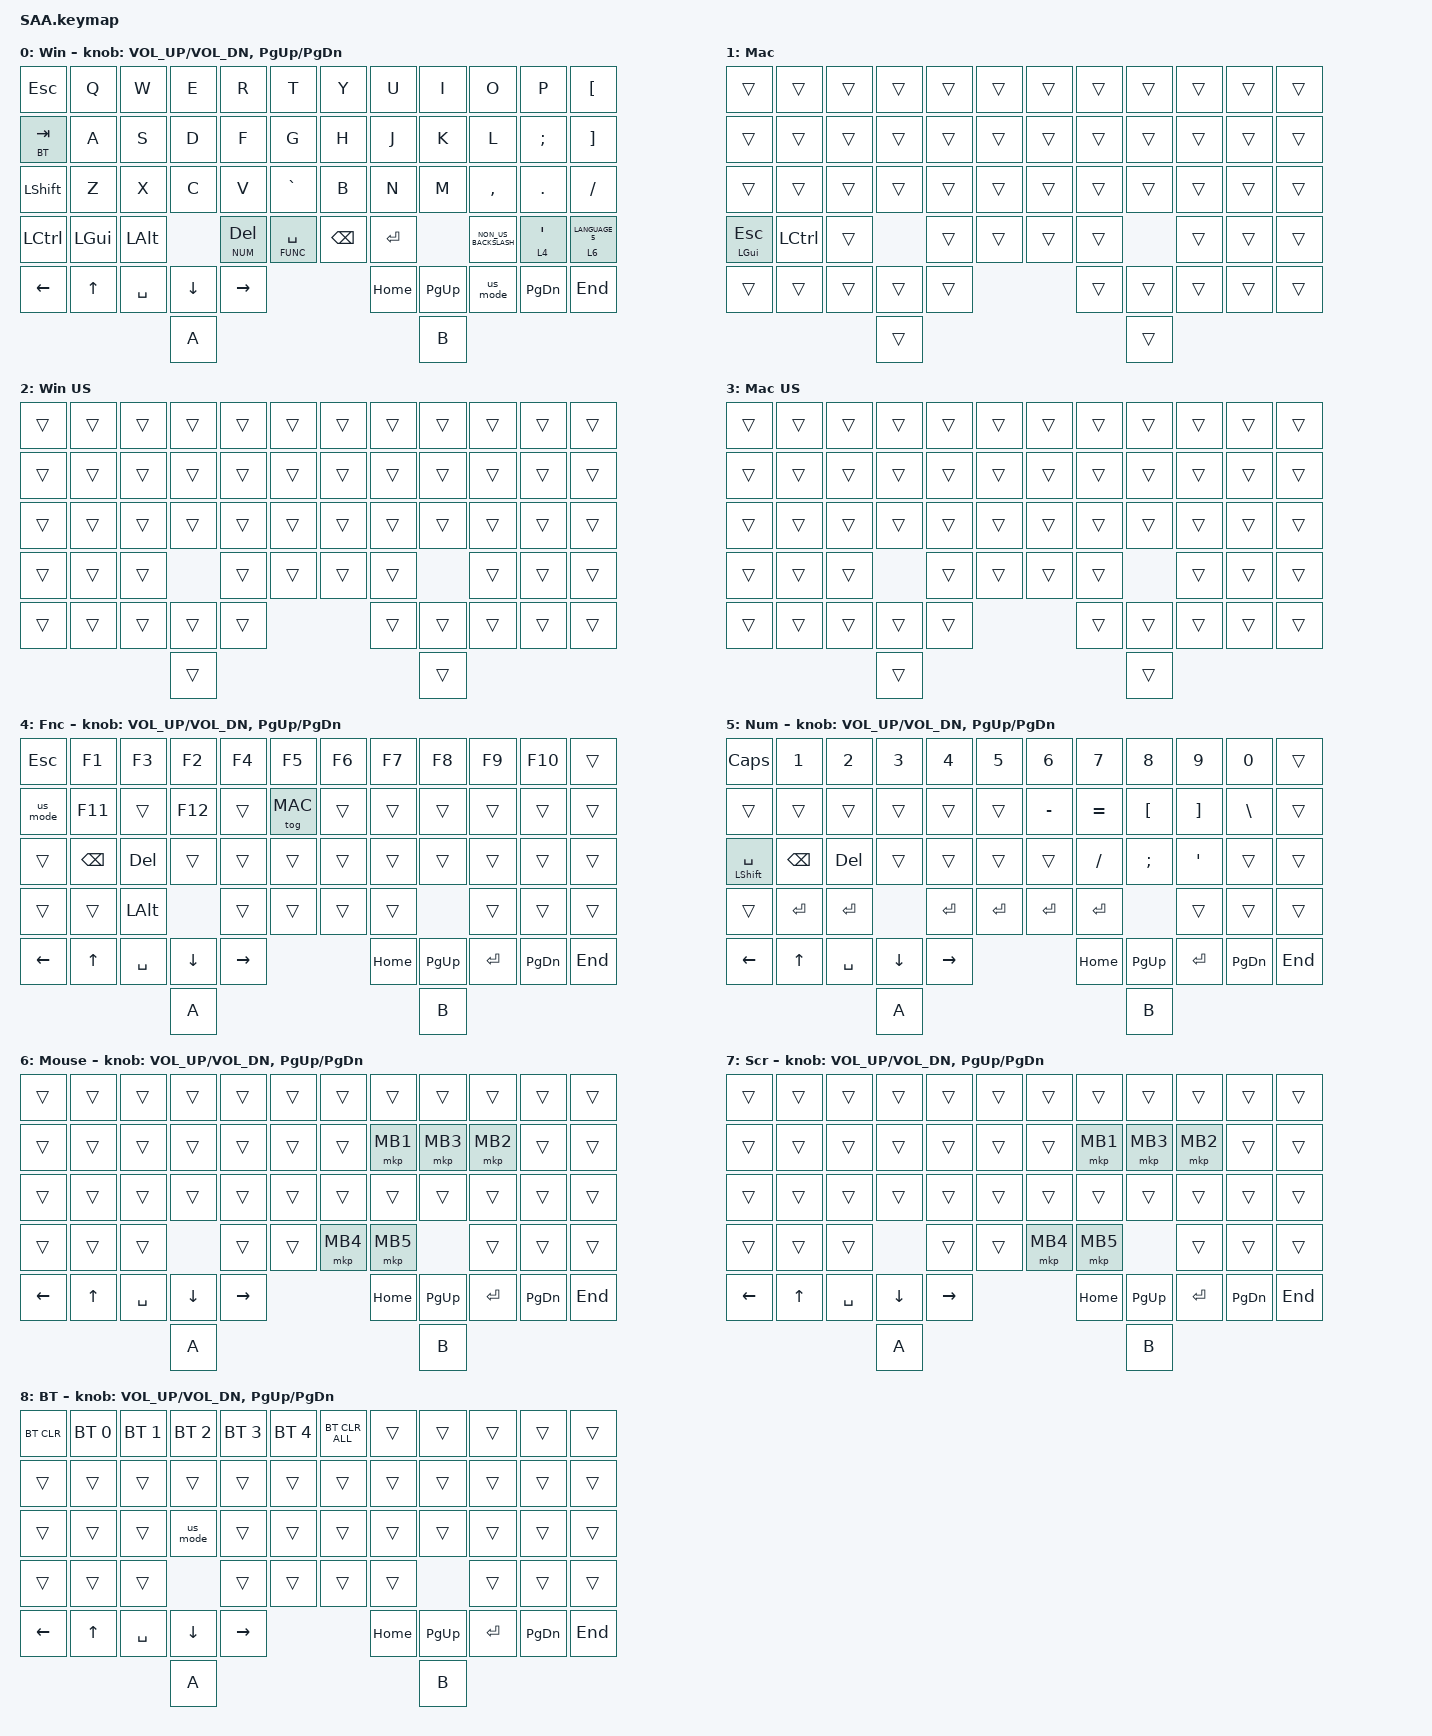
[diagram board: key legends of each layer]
// zmk-layout-shift の dtsi は include せず、必要なノードを下の behaviors
// ブロックで直接定義している。Keymap Editor が #include の順序を並べ替えるため、
// include に頼るとレイアウトシフトが壊れるのを避けるための措置。詳細は同ブロックのコメント。

#include <behaviors.dtsi>
#include <dt-bindings/zmk/bt.h>
#include <dt-bindings/zmk/keys.h>
#include <dt-bindings/zmk/pointing.h>

/*
 * Layer map
 *
 *   0 DEF    : base layer (Windows host, host keyboard layout used as-is)
 *   1 MAC    : Mac mode overlay. Swaps the Ctrl / GUI(Cmd) modifier keys.
 *   2 WIN_US : indicator only (all &trans). Toggled together with the layout
 *              shift state by &us_mode, so the OLED can show that US-legend
 *              input on a JIS host is active.
 *   3 MAC_US : indicator only (all &trans). Activated by conditional_layers
 *              when MAC and WIN_US are both on, so the OLED shows both modes.
 *   4 FUNC .. 8 BT : ordinary momentary / toggled layers.
 *
 * The nice_oled layer widget prints the label of the highest active layer, so
 * while no other layer is held the OLED reads:
 *
 *   WIN     Windows mode, layout shift off
 *   MAC     Mac mode,     layout shift off
 *   WIN US  Windows mode, layout shift on  (type US legends on a JIS host)
 *   MAC US  Mac mode,     layout shift on
 */

#define DEF    0
#define MAC    1
#define WIN_US 2
#define MAC_US 3
#define FUNC   4
#define NUM    5
#define MOUSE  6
#define SCROLL 7
#define BT     8

&mt {
    flavor = "balanced";
    tapping-term-ms = <280>;
    quick-tap-ms = <175>;
    require-prior-idle-ms = <150>;
};

/ {
    behaviors {
        // zmk-layout-shift のノードをここで直接定義している。モジュールの
        // layout_shift.dtsi / layout_shift_kp_override.dtsi は include しない。
        //
        // 理由は2つある。
        //
        // 1. Keymap Editor は #include の順序を並べ替える。override 版を
        //    behaviors.dtsi より前に置かれると、後から読み込まれた
        //    behaviors.dtsi が &kp の compatible を素の key_press に戻し、
        //    ビルドは通るのに US/JIS が無音で効かなくなる。
        //
        // 2. behavior_layout_shift_key_press.c は BEHAVIOR_DT_INST_DEFINE(0, ...)
        //    でインスタンス0のみを定義する。モジュールの dtsi は kpls
        //    (layout_shift_key_press) も定義するため、そちらが先に宣言されると
        //    kpls がインスタンス0を取り、&kp にデバイスが割り当てられない。
        //    SAA_L_Base.overlay の zip_keybind_keys が &kp を参照しているので、
        //    左半身のリンクが __device_dts_ord_N 未定義で失敗する。
        //
        // ここで定義すれば、&kp が zmk,behavior-layout-shift-key-press を持つ
        // 唯一のノードになり、include の順序に関係なく必ずインスタンス0になる。
        //
        // 副作用として &kpls / &mtls / &tog_ls_on / &tog_ls_off は使えない。
        // 必要になったらモジュールの layout_shift.dtsi から同様に転記すること。
        // ZMK コア用に素の key press を残しておく。

        original_key_press: original_key_press {
            compatible = "zmk,behavior-key-press";
            #binding-cells = <1>;
            label = "KEY_PRESS";
        };

        // &kp をレイアウトシフト対応版に差し替える。

        kp: key_press {
            compatible = "zmk,behavior-layout-shift-key-press";
            #binding-cells = <1>;
            label = "LAYOUT_SHIFT_KEY_PRESS";
        };

        // レイアウトシフト状態のオン/オフを切り替える。

        tog_ls: toggle_layout_shift {
            compatible = "zmk,behavior-layout-shift-toggle";
            #binding-cells = <0>;
            toggle-mode = "flip";
            label = "LAYOUT_SHIFT_TOGGLE";
            display-name = "Toggle Layout Shift";
        };
    };

    macros {
        // US/JIS toggle: flips the zmk-layout-shift state (which is what
        // actually rewrites the key codes) and the WIN_US indicator layer
        // (which is only there so the state is visible on the OLED).

        us_mode: us_mode {
            compatible = "zmk,behavior-macro";
            #binding-cells = <0>;
            wait-ms = <10>;
            tap-ms = <10>;
            bindings = <&tog_ls &tog WIN_US>;
            display-name = "US Mode";
        };
    };

    conditional_layers {
        compatible = "zmk,conditional-layers";

        mac_us {
            if-layers = <MAC WIN_US>;
            then-layer = <MAC_US>;
        };
    };

    keymap {
        compatible = "zmk,keymap";

        default_layer {
            label = "Win";
            bindings = <
&kp ESCAPE  &kp Q     &kp W      &kp E     &kp R           &kp T           &kp Y          &kp U      &kp I      &kp O                 &kp P          &kp LEFT_BRACKET
&lt BT TAB  &kp A     &kp S      &kp D     &kp F           &kp G           &kp H          &kp J      &kp K      &kp L                 &kp SEMICOLON  &kp RIGHT_BRACKET
&kp LSHFT   &kp Z     &kp X      &kp C     &kp V           &kp GRAVE       &kp B          &kp N      &kp M      &kp COMMA             &kp PERIOD     &kp FSLH
&kp LCTRL   &kp LGUI  &kp LALT             &lt NUM DELETE  &lt FUNC SPACE  &kp BACKSPACE  &kp ENTER             &kp NON_US_BACKSLASH  &lt 4 SQT      &lt 6 LANGUAGE_5
&kp LEFT    &kp UP    &kp SPACE  &kp DOWN  &kp RIGHT                                      &kp HOME   &kp PG_UP  &us_mode              &kp PG_DN      &kp END
                                 &kp A                                                               &kp B
            >;

            sensor-bindings = <&inc_dec_kp C_VOL_UP C_VOL_DN &inc_dec_kp PG_UP PG_DN>;
        };

        mac_layer {
            label = "Mac";
            bindings = <
&trans        &trans    &trans  &trans  &trans  &trans  &trans  &trans  &trans  &trans  &trans  &trans
&trans        &trans    &trans  &trans  &trans  &trans  &trans  &trans  &trans  &trans  &trans  &trans
&trans        &trans    &trans  &trans  &trans  &trans  &trans  &trans  &trans  &trans  &trans  &trans
&mt LGUI ESC  &kp LCTL  &trans          &trans  &trans  &trans  &trans          &trans  &trans  &trans
&trans        &trans    &trans  &trans  &trans                  &trans  &trans  &trans  &trans  &trans
                                &trans                                  &trans
            >;
        };

        win_us_layer {
            label = "Win US";
            bindings = <
&trans  &trans  &trans  &trans  &trans  &trans  &trans  &trans  &trans  &trans  &trans  &trans
&trans  &trans  &trans  &trans  &trans  &trans  &trans  &trans  &trans  &trans  &trans  &trans
&trans  &trans  &trans  &trans  &trans  &trans  &trans  &trans  &trans  &trans  &trans  &trans
&trans  &trans  &trans          &trans  &trans  &trans  &trans          &trans  &trans  &trans
&trans  &trans  &trans  &trans  &trans                  &trans  &trans  &trans  &trans  &trans
                        &trans                                  &trans
            >;
        };

        mac_us_layer {
            label = "Mac US";
            bindings = <
&trans  &trans  &trans  &trans  &trans  &trans  &trans  &trans  &trans  &trans  &trans  &trans
&trans  &trans  &trans  &trans  &trans  &trans  &trans  &trans  &trans  &trans  &trans  &trans
&trans  &trans  &trans  &trans  &trans  &trans  &trans  &trans  &trans  &trans  &trans  &trans
&trans  &trans  &trans          &trans  &trans  &trans  &trans          &trans  &trans  &trans
&trans  &trans  &trans  &trans  &trans                  &trans  &trans  &trans  &trans  &trans
                        &trans                                  &trans
            >;
        };

        function_layer {
            label = "Fnc";
            bindings = <
&kp ESCAPE  &kp F1    &kp F3     &kp F2    &kp F4     &kp F5    &kp F6  &kp F7    &kp F8     &kp F9     &kp F10    &trans
&us_mode    &kp F11   &trans     &kp F12   &trans     &tog MAC  &trans  &trans    &trans     &trans     &trans     &trans
&trans      &kp BKSP  &kp DEL    &trans    &trans     &trans    &trans  &trans    &trans     &trans     &trans     &trans
&trans      &trans    &kp LALT             &trans     &trans    &trans  &trans               &trans     &trans     &trans
&kp LEFT    &kp UP    &kp SPACE  &kp DOWN  &kp RIGHT                    &kp HOME  &kp PG_UP  &kp ENTER  &kp PG_DN  &kp END
                                 &kp A                                            &kp B
            >;

            sensor-bindings = <&inc_dec_kp C_VOL_UP C_VOL_DN &inc_dec_kp PG_UP PG_DN>;
        };

        num_layer {
            label = "Num";
            bindings = <
&kp CAPS         &kp N1         &kp N2     &kp N3    &kp N4     &kp N5     &kp N6     &kp N7     &kp N8     &kp N9     &kp N0     &trans
&trans           &trans         &trans     &trans    &trans     &trans     &kp MINUS  &kp EQUAL  &kp LBKT   &kp RBKT   &kp BSLH   &trans
&mt LSHFT SPACE  &kp BACKSPACE  &kp DEL    &trans    &trans     &trans     &trans     &kp FSLH   &kp SEMI   &kp SQT    &trans     &trans
&trans           &kp ENTER      &kp ENTER            &kp ENTER  &kp ENTER  &kp ENTER  &kp ENTER             &trans     &trans     &trans
&kp LEFT         &kp UP         &kp SPACE  &kp DOWN  &kp RIGHT                        &kp HOME   &kp PG_UP  &kp ENTER  &kp PG_DN  &kp END
                                           &kp A                                                 &kp B
            >;

            sensor-bindings = <&inc_dec_kp C_VOL_UP C_VOL_DN &inc_dec_kp PG_UP PG_DN>;
        };

        mouse_layer {
            label = "Mouse";
            bindings = <
&trans    &trans  &trans     &trans    &trans     &trans  &trans    &trans    &trans     &trans     &trans     &trans
&trans    &trans  &trans     &trans    &trans     &trans  &trans    &mkp MB1  &mkp MB3   &mkp MB2   &trans     &trans
&trans    &trans  &trans     &trans    &trans     &trans  &trans    &trans    &trans     &trans     &trans     &trans
&trans    &trans  &trans               &trans     &trans  &mkp MB4  &mkp MB5             &trans     &trans     &trans
&kp LEFT  &kp UP  &kp SPACE  &kp DOWN  &kp RIGHT                    &kp HOME  &kp PG_UP  &kp ENTER  &kp PG_DN  &kp END
                             &kp A                                            &kp B
            >;

            sensor-bindings = <&inc_dec_kp C_VOL_UP C_VOL_DN &inc_dec_kp PG_UP PG_DN>;
        };

        scroll_layer {
            label = "Scr";
            bindings = <
&trans    &trans  &trans     &trans    &trans     &trans  &trans    &trans    &trans     &trans     &trans     &trans
&trans    &trans  &trans     &trans    &trans     &trans  &trans    &mkp MB1  &mkp MB3   &mkp MB2   &trans     &trans
&trans    &trans  &trans     &trans    &trans     &trans  &trans    &trans    &trans     &trans     &trans     &trans
&trans    &trans  &trans               &trans     &trans  &mkp MB4  &mkp MB5             &trans     &trans     &trans
&kp LEFT  &kp UP  &kp SPACE  &kp DOWN  &kp RIGHT                    &kp HOME  &kp PG_UP  &kp ENTER  &kp PG_DN  &kp END
                             &kp A                                            &kp B
            >;

            sensor-bindings = <&inc_dec_kp C_VOL_UP C_VOL_DN &inc_dec_kp PG_UP PG_DN>;
        };

        bt_layer {
            label = "BT";
            bindings = <
&bt BT_CLR  &bt BT_SEL 0  &bt BT_SEL 1  &bt BT_SEL 2  &bt BT_SEL 3  &bt BT_SEL 4  &bt BT_CLR_ALL  &trans    &trans     &trans     &trans     &trans
&trans      &trans        &trans        &trans        &trans        &trans        &trans          &trans    &trans     &trans     &trans     &trans
&trans      &trans        &trans        &us_mode      &trans        &trans        &trans          &trans    &trans     &trans     &trans     &trans
&trans      &trans        &trans                      &trans        &trans        &trans          &trans               &trans     &trans     &trans
&kp LEFT    &kp UP        &kp SPACE     &kp DOWN      &kp RIGHT                                   &kp HOME  &kp PG_UP  &kp ENTER  &kp PG_DN  &kp END
                                        &kp A                                                               &kp B
            >;

            sensor-bindings = <&inc_dec_kp C_VOL_UP C_VOL_DN &inc_dec_kp PG_UP PG_DN>;
        };
    };
};
